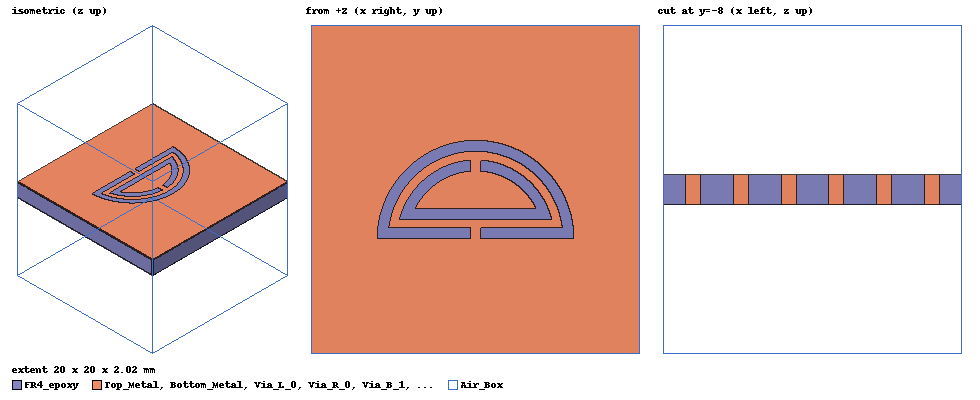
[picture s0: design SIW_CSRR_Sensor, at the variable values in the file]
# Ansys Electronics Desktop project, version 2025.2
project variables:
  $eps_r = if($Te <= $Tg, $eps_ref * (1 + $TC1 * 1e-6 * ($Te - $Tref)/1cel), ($eps_ref * (1 + $TC1 * 1e-6 * ($Tg - $Tref)/1cel)) * (1 + $TC2 * 1e-6 * ($Te - $Tg)/1cel))
  $T = 25cel
  $Te = 25cel
  $Tg = 130cel
  $eps_ref = 4.4
  $TC1 = 200cel
  $Tref = 22cel
  $TC2 = -150cel
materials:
  vacuum: permittivity=1
  FR4_epoxy: permittivity=$eps_r permeability=1 dielectric_loss_tangent=0.002
  copper: permeability=0.999991 conductivity=58000000
  air: permittivity=1.0006 permeability=1.0000004
  GIL GML1000 (tm): permittivity=3.12 dielectric_loss_tangent=0.005

design SIW_CSRR_Sensor (HFSS, HFSS Modal Network, model units mm)
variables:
  substrate_length = 20mm
  substrate_width = substrate_length
  substrate_height = 2mm
  scale_factor = substrate_length / 15.0mm
  R1 = 4.5mm * scale_factor
  R2 = 3.6mm * scale_factor
  gap_s = 0.5mm * scale_factor
  open_g = 0.5mm * scale_factor
  y_offset = -2.25mm * scale_factor
  via_diameter = 1mm
  via_spacing = 2.0mm * scale_factor
  edge_margin = 1.5mm * scale_factor
  eps_r = 9.8
  air_height = 10mm
  thick = 0.01mm
  total_z = substrate_height + 2 * air_height
  z_metal = substrate_height - thick / 2
  via_edge_x = substrate_width / 2.0 - edge_margin
  via_edge_y = substrate_length / 2.0 - edge_margin
  metal_track = (R1 - gap_s) - R2
  y_inner_base = y_offset + gap_s + metal_track
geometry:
  FR4_epoxy [FR4_epoxy] = box(corner=(-substrate_width / 2, -substrate_length / 2, 0mm), size=(substrate_width, substrate_length, substrate_height))
  Via_L_0 [copper] = cylinder(axis=Z, base_centre=(-via_edge_x, -via_edge_y + 0 * (2 * via_edge_y / 5), 0mm), radius=via_diameter / 2, height=substrate_height)
  Via_R_0 [copper] = cylinder(axis=Z, base_centre=(via_edge_x, -via_edge_y + 0 * (2 * via_edge_y / 5), 0mm), radius=via_diameter / 2, height=substrate_height)
  Via_L_1 [copper] = cylinder(axis=Z, base_centre=(-via_edge_x, -via_edge_y + 1 * (2 * via_edge_y / 5), 0mm), radius=via_diameter / 2, height=substrate_height)
  Via_R_1 [copper] = cylinder(axis=Z, base_centre=(via_edge_x, -via_edge_y + 1 * (2 * via_edge_y / 5), 0mm), radius=via_diameter / 2, height=substrate_height)
  Via_L_2 [copper] = cylinder(axis=Z, base_centre=(-via_edge_x, -via_edge_y + 2 * (2 * via_edge_y / 5), 0mm), radius=via_diameter / 2, height=substrate_height)
  Via_R_2 [copper] = cylinder(axis=Z, base_centre=(via_edge_x, -via_edge_y + 2 * (2 * via_edge_y / 5), 0mm), radius=via_diameter / 2, height=substrate_height)
  Via_L_3 [copper] = cylinder(axis=Z, base_centre=(-via_edge_x, -via_edge_y + 3 * (2 * via_edge_y / 5), 0mm), radius=via_diameter / 2, height=substrate_height)
  Via_R_3 [copper] = cylinder(axis=Z, base_centre=(via_edge_x, -via_edge_y + 3 * (2 * via_edge_y / 5), 0mm), radius=via_diameter / 2, height=substrate_height)
  Via_L_4 [copper] = cylinder(axis=Z, base_centre=(-via_edge_x, -via_edge_y + 4 * (2 * via_edge_y / 5), 0mm), radius=via_diameter / 2, height=substrate_height)
  Via_R_4 [copper] = cylinder(axis=Z, base_centre=(via_edge_x, -via_edge_y + 4 * (2 * via_edge_y / 5), 0mm), radius=via_diameter / 2, height=substrate_height)
  Via_L_5 [copper] = cylinder(axis=Z, base_centre=(-via_edge_x, -via_edge_y + 5 * (2 * via_edge_y / 5), 0mm), radius=via_diameter / 2, height=substrate_height)
  Via_R_5 [copper] = cylinder(axis=Z, base_centre=(via_edge_x, -via_edge_y + 5 * (2 * via_edge_y / 5), 0mm), radius=via_diameter / 2, height=substrate_height)
  Via_T_1 [copper] = cylinder(axis=Z, base_centre=(-via_edge_x + 1 * (2 * via_edge_x / 5), via_edge_y, 0mm), radius=via_diameter / 2, height=substrate_height)
  Via_B_1 [copper] = cylinder(axis=Z, base_centre=(-via_edge_x + 1 * (2 * via_edge_x / 5), -via_edge_y, 0mm), radius=via_diameter / 2, height=substrate_height)
  Via_T_2 [copper] = cylinder(axis=Z, base_centre=(-via_edge_x + 2 * (2 * via_edge_x / 5), via_edge_y, 0mm), radius=via_diameter / 2, height=substrate_height)
  Via_B_2 [copper] = cylinder(axis=Z, base_centre=(-via_edge_x + 2 * (2 * via_edge_x / 5), -via_edge_y, 0mm), radius=via_diameter / 2, height=substrate_height)
  Via_T_3 [copper] = cylinder(axis=Z, base_centre=(-via_edge_x + 3 * (2 * via_edge_x / 5), via_edge_y, 0mm), radius=via_diameter / 2, height=substrate_height)
  Via_B_3 [copper] = cylinder(axis=Z, base_centre=(-via_edge_x + 3 * (2 * via_edge_x / 5), -via_edge_y, 0mm), radius=via_diameter / 2, height=substrate_height)
  Via_T_4 [copper] = cylinder(axis=Z, base_centre=(-via_edge_x + 4 * (2 * via_edge_x / 5), via_edge_y, 0mm), radius=via_diameter / 2, height=substrate_height)
  Via_B_4 [copper] = cylinder(axis=Z, base_centre=(-via_edge_x + 4 * (2 * via_edge_x / 5), -via_edge_y, 0mm), radius=via_diameter / 2, height=substrate_height)
  Top_Metal [copper] = box(corner=(-substrate_width / 2, -substrate_length / 2, substrate_height), size=(substrate_width, substrate_length, thick))
  Bottom_Metal [copper] = box(corner=(-substrate_width / 2, -substrate_length / 2, -thick), size=(substrate_width, substrate_length, thick))
  Outer_Ring_Base = cylinder(axis=Z, base_centre=(0mm, y_offset, z_metal), radius=R1, height=thick * 2)
  NewObject_DNF30L = box(corner=(-R1 - 1mm, y_offset - R1 - 1mm, z_metal), size=(2 * R1 + 2mm, R1 + 1mm, thick * 2))
  Outer_Ring_Base.subtract(NewObject_DNF30L)
  Outer_Ring_Inner = cylinder(axis=Z, base_centre=(0mm, y_offset, z_metal), radius=R1 - gap_s, height=thick * 2)
  NewObject_A4SJ08 = box(corner=(-R1 - 1mm, y_offset - R1 - 1mm, z_metal), size=(2 * R1 + 2mm, R1 + 1mm + gap_s, thick * 2))
  Outer_Ring_Inner.subtract(NewObject_A4SJ08)
  Outer_Ring_Base.subtract(Outer_Ring_Inner)
  NewObject_PSI4MN = box(corner=(-open_g / 2, y_offset - 0.1mm, z_metal), size=(open_g, gap_s + 0.2mm, thick * 2))
  Outer_Ring_Base.subtract(NewObject_PSI4MN)
  Inner_Ring_Base = cylinder(axis=Z, base_centre=(0mm, y_offset, z_metal), radius=R2, height=thick * 2)
  NewObject_M0KET4 = box(corner=(-R2 - 1mm, y_offset - R2 - 1mm, z_metal), size=(2 * R2 + 2mm, (y_inner_base - y_offset) + R2 + 1mm, thick * 2))
  Inner_Ring_Base.subtract(NewObject_M0KET4)
  Inner_Ring_Inner = cylinder(axis=Z, base_centre=(0mm, y_offset, z_metal), radius=R2 - gap_s, height=thick * 2)
  NewObject_63GHFE = box(corner=(-R2 - 1mm, y_offset - R2 - 1mm, z_metal), size=(2 * R2 + 2mm, (y_inner_base - y_offset) + gap_s + R2 + 1mm, thick * 2))
  Inner_Ring_Inner.subtract(NewObject_63GHFE)
  Inner_Ring_Base.subtract(Inner_Ring_Inner)
  NewObject_3GWQN6 = box(corner=(-open_g / 2, y_offset + R2 - gap_s - 0.1mm, z_metal), size=(open_g, gap_s + 0.2mm, thick * 2))
  Inner_Ring_Base.subtract(NewObject_3GWQN6)
  Top_Metal.subtract(Outer_Ring_Base, Inner_Ring_Base)
  Air_Box [air] = box(corner=(-substrate_width / 2, -substrate_length / 2, -air_height), size=(substrate_width, substrate_length, total_z))
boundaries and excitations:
  PE1: Perfect E Faces=Air_Box.face(+y)
  PE2: Perfect E Faces=Air_Box.face(-y)
  PH1: Perfect H Faces=Air_Box.face(+x)
  PH2: Perfect H Faces=Air_Box.face(-x)
  1: Lumped Port Faces=Air_Box.face(+z) LumpedPortType=Modal Modes{Mode1{IntLine{(0, -10, 12) -> (0, 10, 12)} CharImp=Zpi}} Impedance=50ohm
  2: Lumped Port Faces=Air_Box.face(-z) LumpedPortType=Modal Modes{Mode1{IntLine{(0, -10, -10) -> (0, 10, -10)} CharImp=Zpi}} Impedance=50ohm
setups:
  Setup1: HfssDriven Frequency=14GHz MaxDeltaS=0.02 MaximumPasses=6 MinimumPasses=1 MinimumConvergedPasses=1 PercentRefinement=30 BasisOrder=1 PortAccuracy=2 DrivenSolverType="Direct Solver"
    sweep Sweep: 10GHz to 20GHz, 401 points; Type=Interpolating SaveFields InterpTolerance=0.5 InterpMaxSolns=250 InterpUsePortImped=false PassivityErrorTolerance=0.0001
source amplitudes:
  1:1: 1W 0deg
  2:1: 0W 0deg
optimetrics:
  ParametricSetup1: Parametric Sim._Setups=[Setup1]
    sweep $Te: LIN 25cel 225cel 25cel
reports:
  S Parameter Plot1: dB(S(1,1)) vs Freq on Setup1 : Sweep [$Te=all]
